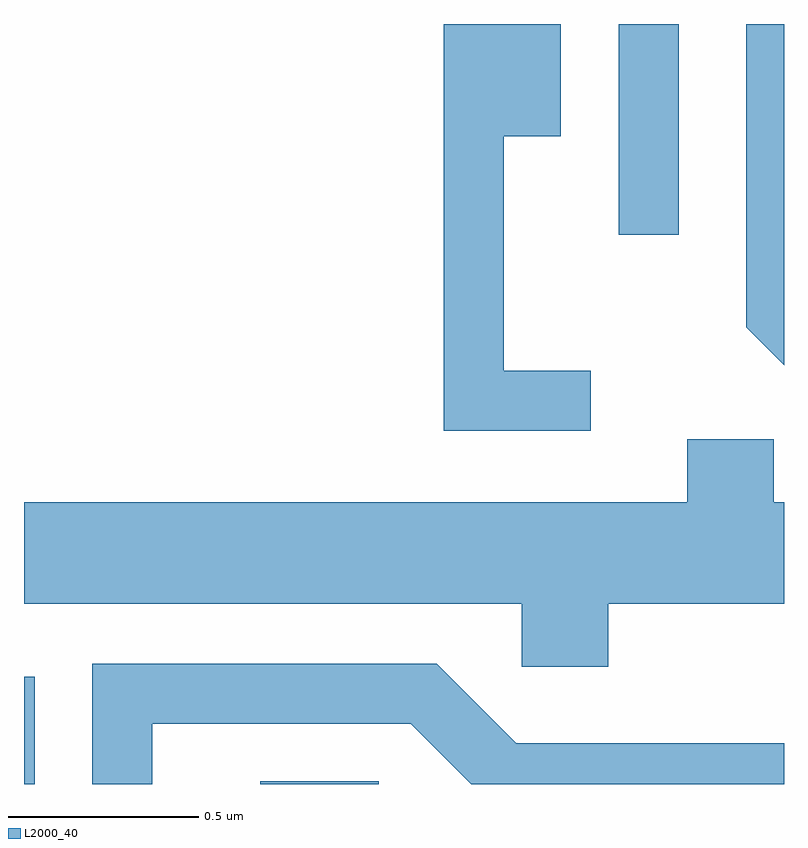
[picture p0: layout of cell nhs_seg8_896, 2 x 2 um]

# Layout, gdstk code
import gdstk
lib = gdstk.Library(unit=1e-6, precision=1e-09)
def R(c, l, rs):  # rectangles x0, y0, x1, y1
    for r in rs: c.add(gdstk.rectangle(r[:2], r[2:], *l))
def P(c, l, *ps):  # polygons
    for p in ps: c.add(gdstk.Polygon(p, *l))
L2000_40 = (2000, 40)

nhs_seg8_896 = lib.new_cell('nhs_seg8_896')
R(nhs_seg8_896, L2000_40, [(191.611,1880.342,191.639,1880.624), (192.233,1880.342,192.544,1880.349), (193.176,1881.788,193.334,1882.342)])
P(nhs_seg8_896, L2000_40, [(193.611,1882.342),(193.511,1882.342),(193.511,1881.544),(193.611,1881.444)],
  [(193.103,1881.429),(192.874,1881.429),(192.874,1882.046),(193.024,1882.046),(193.024,1882.342),(192.716,1882.342),(192.716,1881.271),(193.103,1881.271)],
  [(193.149,1880.816),(193.611,1880.816),(193.611,1881.084),(193.584,1881.084),(193.584,1881.249),(193.356,1881.249),(193.356,1881.084),(191.611,1881.084),(191.611,1880.816),(192.921,1880.816),(192.921,1880.651),(193.149,1880.651)],
  [(191.949,1880.501),(192.629,1880.501),(192.788,1880.342),(193.611,1880.342),(193.611,1880.449),(192.907,1880.449),(192.697,1880.659),(191.791,1880.659),(191.791,1880.342),(191.949,1880.342)])

lib.write_gds('nhs_seg8_896.gds')
